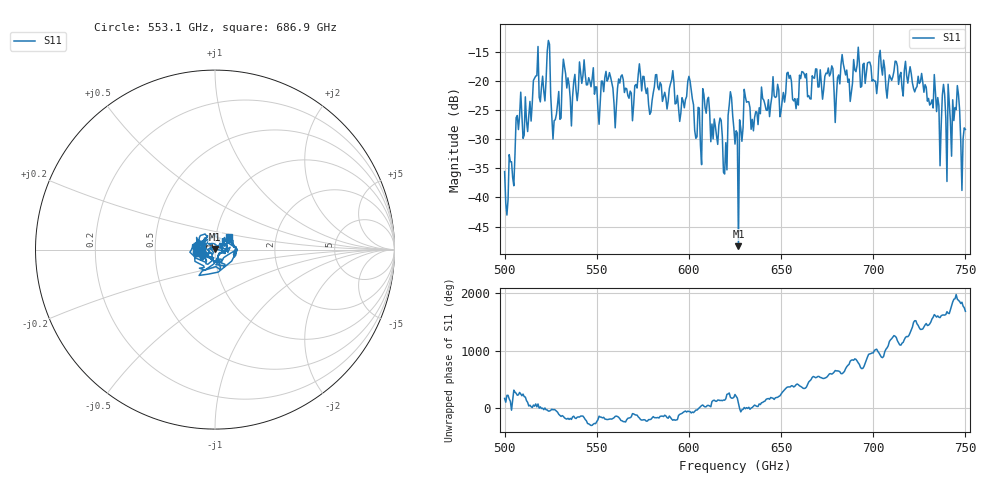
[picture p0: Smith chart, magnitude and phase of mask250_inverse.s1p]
!Created with skrf (http://scikit-rf.org).
# GHz S MA R 50.0
!freq magS11 angS11
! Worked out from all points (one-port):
!   401 points, 500 GHz to 750 GHz, reference 50 ohm
!   lowest |S11| = -48.4 dB at 626.9 GHz (marker M1), VSWR 1.01, Z = 50 + j0.38 ohm
!   |S11| at or under -10 dB: start of sweep to end of sweep
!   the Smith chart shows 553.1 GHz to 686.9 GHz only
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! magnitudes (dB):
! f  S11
! 500 GHz  -35.6
! 516.9 GHz  -19.1
! 520.6 GHz  -19.2
! 523.8 GHz  -13.0
! 526.9 GHz  -26.8
! 531.2 GHz  -19.5
! 560 GHz  -28.0
! 562.5 GHz  -20.3
! 579.4 GHz  -25.3
! 590.6 GHz  -19.8
! 593.8 GHz  -22.5
! 600.6 GHz  -20.0
! 605.6 GHz  -24.6
! 608.8 GHz  -24.6
! 619.4 GHz  -36.0
! 622.5 GHz  -21.8
! 625 GHz  -30.8
! 626.9 GHz  -48.4
! 631.2 GHz  -23.6
! 635 GHz  -28.6
! 656.2 GHz  -23.1
! 676.9 GHz  -18.7
! 680 GHz  -22.6
! 683.8 GHz  -17.0
! 687.5 GHz  -23.5
! 690.6 GHz  -18.4
! 718.8 GHz  -20.4
! 750 GHz  -28.3
